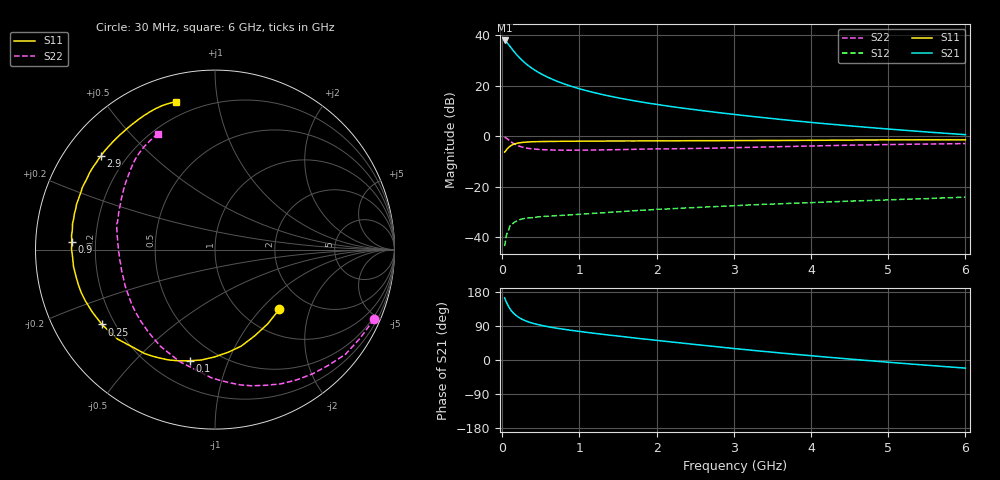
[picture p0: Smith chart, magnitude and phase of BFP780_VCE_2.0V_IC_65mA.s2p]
! Infineon Technologies  Discrete & RF Semiconductors
! BFP780
! VCE =  2.0 V,  IC =  65 mA
! Common Emitter S-Parameters:  Jul 2015
# GHz  S  MA  R  50
!  f  S11  S21  S12  S22
! GHz  MAG  ANG  MAG  ANG  MAG  ANG  MAG  ANG
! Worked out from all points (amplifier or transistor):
!   75 points, 30 MHz to 6 GHz, reference 50 ohm
!   highest |S21| = 38.0 dB at 30 MHz (marker M1)
!   |S21| within 3 dB of that: start of sweep to 116 MHz
!   unconditionally stable (mu >= 1): 1.897 GHz to end of sweep
!   at 150 MHz: K = 0.13, MSG = 33.9 dB, |S12| = -34.1 dB
!   at 2.3 GHz: K = 1.09, MAG = 18.1 dB, |S12| = -28.5 dB
!   at 6 GHz: K = 1.37, MAG = 8.7 dB, |S12| = -24.1 dB
!   S11 on the Smith chart (normalised r, x): 30 MHz: 1.46, -1.27; 100 MHz: 0.35, -0.73; 250 MHz: 0.15, -0.29; 900 MHz: 0.11, +0.03; 2.9 GHz: 0.11, +0.35; 6 GHz: 0.13, +0.76
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0.03  0.4887 -42.8  79.14 164.0  0.0067 76.4  0.9671 -23.6
0.05  0.529 -65.3  74.54 154.0  0.0103 67.0  0.9318 -38.8
0.06  0.5575 -74.9  71.9 149.7  0.0119 58.8  0.902 -45.8
0.08  0.598 -90.2  66.14 141.7  0.0138 54.3  0.856 -58.1
0.1  0.6355 -102.9  60.31 135.1  0.0169 48.6  0.8079 -69.3
0.12  0.6671 -112.9  55.01 129.4  0.0182 44.6  0.7677 -79.2
0.15  0.6996 -124.3  48.14 122.6  0.0197 39.6  0.7152 -91.5
0.2  0.7368 -137.4  39.16 114.2  0.0216 32.8  0.6546 -107.5
0.25  0.7558 -146.5  32.78 108.1  0.0231 29.4  0.6183 -119.5
0.3  0.7674 -153.2  27.93 103.4  0.0239 26.4  0.5914 -128.8
0.35  0.7765 -158.3  24.3 99.7  0.0244 24.4  0.5742 -136.1
0.5  0.7882 -168.5  17.36 91.6  0.0258 21.8  0.5471 -151.0
0.7  0.7945 -177.0  12.48 84.1  0.0269 21.4  0.5342 -163.1
0.9  0.7995 176.9  9.723 78.1  0.028 21.7  0.5315 -171.0
1.1  0.8025 171.9  7.938 72.8  0.0293 22.5  0.5343 -177.0
1.5  0.8083 163.8  5.795 63.2  0.0321 23.5  0.5451 174.2
2.1  0.8159 153.4  4.069 49.6  0.0362 23.5  0.564 164.3
2.9  0.8228 140.6  2.836 32.5  0.0417 21.9  0.5926 151.9
3.1  0.8249 137.7  2.616 28.4  0.043 21.5  0.6014 149.0
4.1  0.8361 123.9  1.831 9.5  0.0494 18.3  0.6488 136.4
5.1  0.8524 112.8  1.36 -7.5  0.056 13.7  0.6915 125.7
6  0.8536 104.9  1.08 -21.4  0.0625 9.1  0.7191 116.2
